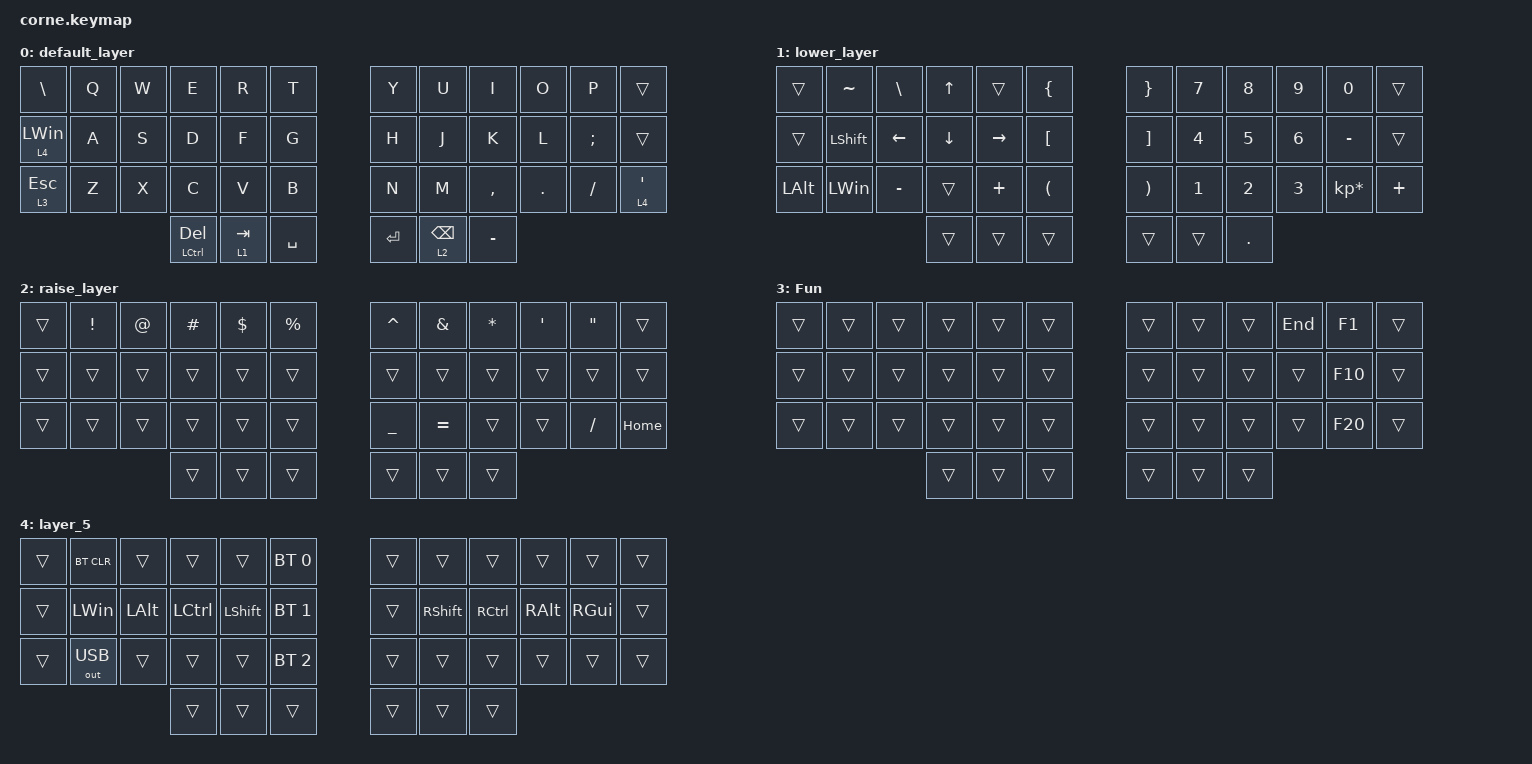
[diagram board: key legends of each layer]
/*
 * Copyright (c) 2020 The ZMK Contributors
 *
 * SPDX-License-Identifier: MIT
 */

#include <behaviors.dtsi>
#include <dt-bindings/zmk/bt.h>
#include <dt-bindings/zmk/keys.h>
#include <dt-bindings/zmk/outputs.h>

/ {
    keymap {
        compatible = "zmk,keymap";

        default_layer {
            // -----------------------------------------------------------------------------------------
            // |  TAB |  Q  |  W  |  E  |  R  |  T  |   |  Y  |  U   |  I  |  O  |  P  | BKSP |
            // | CTRL |  A  |  S  |  D  |  F  |  G  |   |  H  |  J   |  K  |  L  |  ;  |  '   |
            // | SHFT |  Z  |  X  |  C  |  V  |  B  |   |  N  |  M   |  ,  |  .  |  /  | ESC  |
            //                    | GUI | LWR | SPC |   | ENT | RSE  | ALT |

            bindings = <
&kp BACKSLASH   &kp Q  &kp W  &kp E                 &kp R      &kp T        &kp Y    &kp U            &kp I      &kp O    &kp P     &trans
&lt 4 LEFT_WIN  &kp A  &kp S  &kp D                 &kp F      &kp G        &kp H    &kp J            &kp K      &kp L    &kp SEMI  &trans
&lt 3 ESC       &kp Z  &kp X  &kp C                 &kp V      &kp B        &kp N    &kp M            &kp COMMA  &kp DOT  &kp FSLH  &lt 4 SINGLE_QUOTE
                              &mt LEFT_CONTROL DEL  &lt 1 TAB  &kp SPACE    &kp RET  &lt 2 BACKSPACE  &kp MINUS
            >;
        };

        lower_layer {
            // -----------------------------------------------------------------------------------------
            // |  TAB |  1  |  2  |  3  |  4  |  5  |   |  6  |  7  |  8  |  9  |  0  | BKSP |
            // | BTCLR| BT1 | BT2 | BT3 | BT4 | BT5 |   | LFT | DWN |  UP | RGT |     |      |
            // | SHFT |     |     |     |     |     |   |     |     |     |     |     |      |
            //                    | GUI |     | SPC |   | ENT |     | ALT |

            bindings = <
&trans        &kp TILDE       &kp BACKSLASH  &kp UP    &trans     &kp LBRC    &kp RBRC               &kp N7        &kp N8        &kp N9        &kp N0           &trans
&trans        &kp LEFT_SHIFT  &kp LEFT       &kp DOWN  &kp RIGHT  &kp LBKT    &kp RBKT               &kp NUMBER_4  &kp NUMBER_5  &kp NUMBER_6  &kp MINUS        &trans
&kp LEFT_ALT  &kp LEFT_WIN    &kp MINUS      &trans    &kp PLUS   &kp LPAR    &kp RIGHT_PARENTHESIS  &kp NUMBER_1  &kp NUMBER_2  &kp NUMBER_3  &kp KP_MULTIPLY  &kp PLUS
                                             &trans    &trans     &trans      &trans                 &trans        &kp PERIOD
            >;
        };

        raise_layer {
            // -----------------------------------------------------------------------------------------
            // |  TAB |  !  |  @  |  #  |  $  |  %  |   |  ^  |  &  |  *  |  (  |  )  | BKSP |
            // | CTRL |     |     |     |     |     |   |  -  |  =  |  [  |  ]  |  \  |  `   |
            // | SHFT |     |     |     |     |     |   |  _  |  +  |  {  |  }  | "|" |  ~   |
            //                    | GUI |     | SPC |   | ENT |     | ALT |

            bindings = <
&trans  &kp EXCLAMATION  &kp AT  &kp HASH  &kp DLLR  &kp PRCNT    &kp CARET  &kp AMPS   &kp ASTRK  &kp SINGLE_QUOTE  &kp DOUBLE_QUOTES  &trans
&trans  &trans           &trans  &trans    &trans    &trans       &trans     &trans     &trans     &trans            &trans             &trans
&trans  &trans           &trans  &trans    &trans    &trans       &kp UNDER  &kp EQUAL  &trans     &trans            &kp SLASH          &kp HOME
                                 &trans    &trans    &trans       &trans     &trans     &trans
            >;
        };

        Fun {
            bindings = <
&trans  &trans  &trans  &trans  &trans  &trans    &trans  &trans  &trans  &kp END  &kp F1   &trans
&trans  &trans  &trans  &trans  &trans  &trans    &trans  &trans  &trans  &trans   &kp F10  &trans
&trans  &trans  &trans  &trans  &trans  &trans    &trans  &trans  &trans  &trans   &kp F20  &trans
                        &trans  &trans  &trans    &trans  &trans  &trans
            >;
        };

        layer_5 {
            bindings = <
&trans  &bt BT_CLR    &trans        &trans            &trans          &bt BT_SEL 0    &trans  &trans           &trans             &trans         &trans         &trans
&trans  &kp LEFT_WIN  &kp LEFT_ALT  &kp LEFT_CONTROL  &kp LEFT_SHIFT  &bt BT_SEL 1    &trans  &kp RIGHT_SHIFT  &kp RIGHT_CONTROL  &kp RIGHT_ALT  &kp RIGHT_GUI  &trans
&trans  &out OUT_USB  &trans        &trans            &trans          &bt BT_SEL 2    &trans  &trans           &trans             &trans         &trans         &trans
                                    &trans            &trans          &trans          &trans  &trans           &trans
            >;
        };
    };
};
